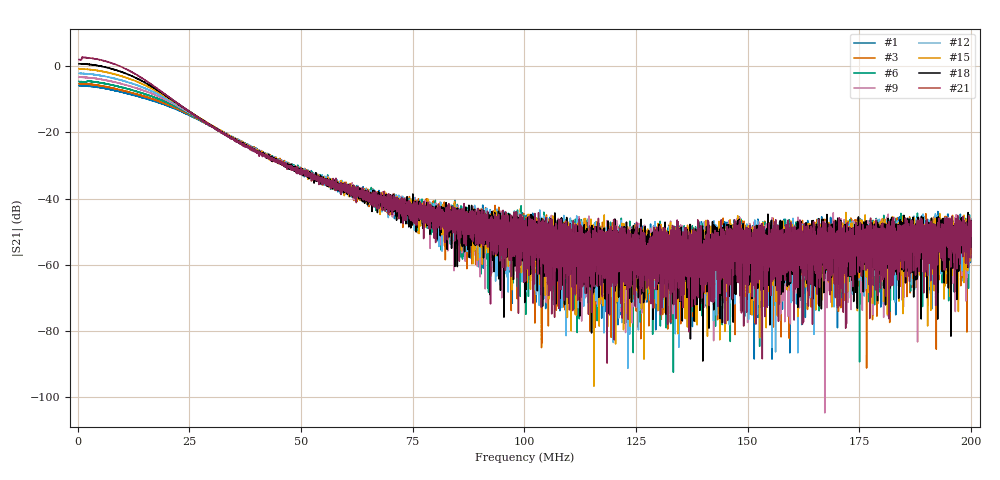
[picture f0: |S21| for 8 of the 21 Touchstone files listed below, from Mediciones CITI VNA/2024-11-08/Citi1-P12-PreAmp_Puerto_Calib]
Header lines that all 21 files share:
# Hz S DB R 50
! CMT, M5065, 19127446, 24.2.4/2
! Data: Format (Calibration Info)
! Freq	S11:dB/Ang(F2)	S21:dB/Ang(F2)	S12:dB/Ang(F2)	S22:dB/Ang(F2)
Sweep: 300 kHz to 200 MHz
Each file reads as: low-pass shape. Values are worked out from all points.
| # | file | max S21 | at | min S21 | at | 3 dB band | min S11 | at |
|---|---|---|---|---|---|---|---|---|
| 1 | ganancia_0.s2p | -5.74 dB | 322.2 kHz | -88.5 dB | 155.4 MHz | 300 kHz-12.42 MHz | -17.7 dB | 2.896 MHz |
| 2 | ganancia_2.s2p | -5.53 dB | 388.8 kHz | -85.6 dB | 151.7 MHz | 300 kHz-12.46 MHz | -18.0 dB | 344.4 kHz |
| 3 | ganancia_4.s2p | -5.22 dB | 388.8 kHz | -91.1 dB | 176.6 MHz | 300 kHz-12.55 MHz | -25.2 dB | 2.253 MHz |
| 4 | ganancia_6.s2p | -5.01 dB | 1.055 MHz | -88.5 dB | 107.8 MHz | 300 kHz-12.57 MHz | -17.2 dB | 677.3 kHz |
| 5 | ganancia_8.s2p | -4.64 dB | 322.2 kHz | -93.4 dB | 163.7 MHz | 300 kHz-12.42 MHz | -19.0 dB | 2.186 MHz |
| 6 | ganancia_10.s2p | -4.45 dB | 2.186 MHz | -92.4 dB | 133.4 MHz | 300 kHz-12.64 MHz | -17.9 dB | 2.231 MHz |
| 7 | ganancia_12.s2p | -3.97 dB | 300 kHz | -90.8 dB | 115.6 MHz | 300 kHz-12.31 MHz | -18.0 dB | 1.587 MHz |
| 8 | ganancia_14.s2p | -3.65 dB | 300 kHz | -93.3 dB | 138.1 MHz | 300 kHz-12.24 MHz | -20.4 dB | 1.365 MHz |
| 9 | ganancia_16.s2p | -3.28 dB | 788.2 kHz | -104.7 dB | 167.2 MHz | 300 kHz-12.28 MHz | -19.3 dB | 4.339 MHz |
| 10 | ganancia_18.s2p | -2.93 dB | 300 kHz | -91.6 dB | 119.9 MHz | 300 kHz-12.02 MHz | -17.0 dB | 1.343 MHz |
| 11 | ganancia_20.s2p | -2.53 dB | 300 kHz | -92.2 dB | 177.6 MHz | 300 kHz-12.06 MHz | -18.0 dB | 1.143 MHz |
| 12 | ganancia_22.s2p | -2.15 dB | 388.8 kHz | -91.2 dB | 123.2 MHz | 300 kHz-11.91 MHz | -17.2 dB | 4.428 MHz |
| 13 | ganancia_24.s2p | -1.70 dB | 433.1 kHz | -88.1 dB | 196 MHz | 300 kHz-11.77 MHz | -19.3 dB | 1.077 MHz |
| 14 | ganancia_26.s2p | -1.29 dB | 566.3 kHz | -102.1 dB | 107.8 MHz | 300 kHz-11.64 MHz | -19.4 dB | 2.386 MHz |
| 15 | ganancia_28.s2p | -0.76 dB | 411 kHz | -96.6 dB | 115.6 MHz | 300 kHz-11.46 MHz | -19.1 dB | 1.432 MHz |
| 16 | ganancia_30.s2p | -0.78 dB | 366.6 kHz | -91.1 dB | 126.8 MHz | 300 kHz-12.17 MHz | -23.2 dB | 4.738 MHz |
| 17 | ganancia_32.s2p | 0.24 dB | 322.2 kHz | -95.1 dB | 110.8 MHz | 300 kHz-11.11 MHz | -19.0 dB | 2.075 MHz |
| 18 | ganancia_34.s2p | 0.75 dB | 322.2 kHz | -89.0 dB | 140 MHz | 300 kHz-10.77 MHz | -19.9 dB | 1.898 MHz |
| 19 | ganancia_36.s2p | 1.41 dB | 322.2 kHz | -97.8 dB | 130.3 MHz | 300 kHz-10.51 MHz | -19.4 dB | 1.41 MHz |
| 20 | ganancia_38.s2p | 2.02 dB | 366.6 kHz | -86.7 dB | 138.4 MHz | 300 kHz-10.18 MHz | -20.7 dB | 2.231 MHz |
| 21 | ganancia_40.s2p | 2.67 dB | 1.055 MHz | -89.7 dB | 118.5 MHz | 300 kHz-9.953 MHz | -17.1 dB | 2.297 MHz |
